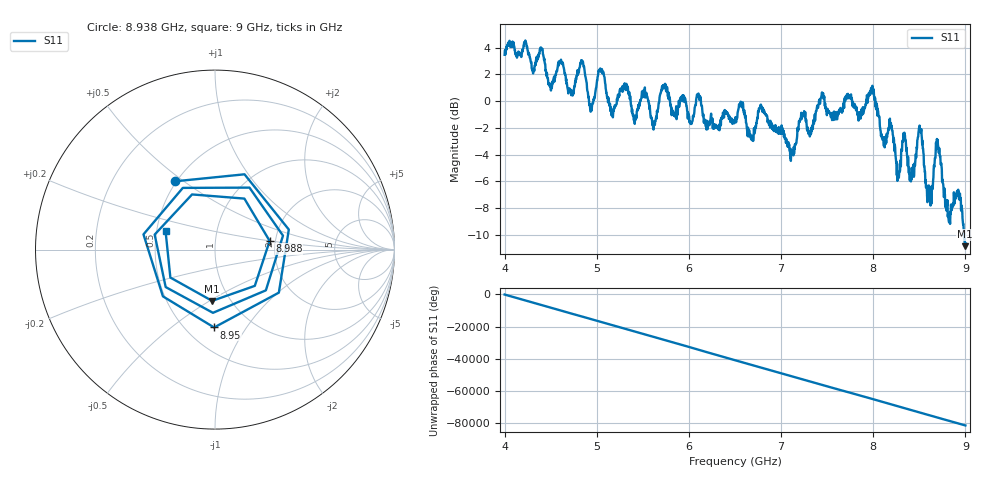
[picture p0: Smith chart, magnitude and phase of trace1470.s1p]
! Created with skrf 1.8.0 (http://scikit-rf.org).
# Hz S RI R 50.0
!freq ReS11 ImS11
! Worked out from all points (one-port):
!   1601 points, 4 GHz to 9 GHz, reference 50 ohm
!   lowest |S11| = -10.9 dB at 8.994 GHz (marker M1), VSWR 1.80, Z = 41.2 - j25.7 ohm
!   |S11| at or under -10 dB: 8.986357 GHz to end of sweep
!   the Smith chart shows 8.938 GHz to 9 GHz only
!   S11 on the Smith chart (normalised r, x): 8.938 GHz: 0.49, +0.46; 8.95 GHz: 0.68, -0.72; 8.988 GHz: 1.86, +0.20; 9 GHz: 0.56, +0.13
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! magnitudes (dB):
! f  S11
! 4 GHz  3.5
! 4.5 GHz  0.9
! 4.625 GHz  2.8
! 4.725 GHz  0.7
! 4.844 GHz  3.0
! 4.938 GHz  -0.6
! 5.041 GHz  2.4
! 5.159 GHz  -1.1
! 5.25 GHz  0.8
! 5.875 GHz  -0.7
! 6.5 GHz  -1.5
! 6.684 GHz  -2.9
! 6.784 GHz  -0.5
! 7.125 GHz  -3.8
! 7.238 GHz  -0.9
! 7.75 GHz  0.4
! 7.988 GHz  1.0
! 8.266 GHz  -5.5
! 8.375 GHz  -4.9
! 8.509 GHz  -2.2
! 8.609 GHz  -7.2
! 8.703 GHz  -3.3
! 8.812 GHz  -8.5
! 8.938 GHz  -7.1
! 8.95 GHz  -7.3
! 8.988 GHz  -10.2
! 8.994 GHz  -10.9
! 9 GHz  -10.6
